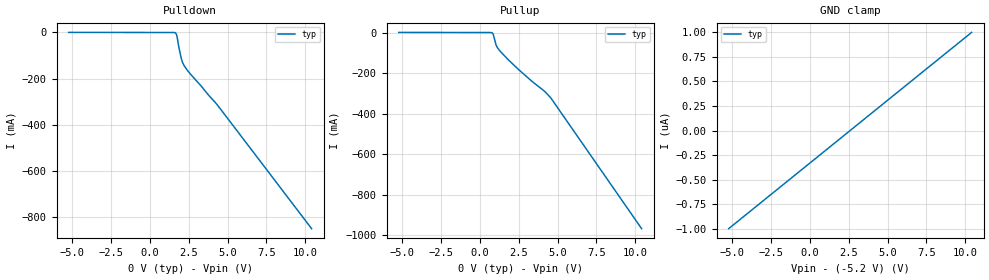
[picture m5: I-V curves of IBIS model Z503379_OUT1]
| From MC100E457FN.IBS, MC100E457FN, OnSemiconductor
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| (C) COPYRIGHT 1993-2000
| MENTOR GRAPHICS CORPORATION
| ICX STANDARD LIBRARY, ICX PROJECT MODELING,
| ICX CUSTOM MODELING, ICX VENDOR MODEL
| ALL RIGHTS RESERVED.
| THE FOLLOWING ARE TRADEMARKS OR SERVICE MARKS OF
| MENTOR GRAPHICS CORPORATION:ICX (R), ICX STANDARD
| LIBRARY(R), ICX PROJECT MODELING(R), ICX CUSTOM
| MODELING(R), qualityIBIS(TM), MODELVIEWER(TM),
| AND MODELEDITOR(TM)
| ALL COPIES OF SOFTWARE, INCLUDING BUT NOT LIMITED TO
| ANY MODIFICATIONS, ENHANCEMENTS OR DERIVATIVE WORKS,
| MUST CONTAIN ALL MENTOR GRAPHICS CORPORATION'S
| NOTICES AND LEGENDS, INCLUDING THOSE EMBEDDED IN
| SOFTWARE AND THOSE AFFIXED TO SOFTWARE MEDIUM
| AND CONTAINER, AS RECEIVED FROM MENTOR GRAPHICS
| CORPORATION.
| Model Application Version 1.89 2/18/99.
[Model] Z503379_OUT1
Model_type Output_ECL
Vref=-2.000V
Rref=50.00ohms
Cref=0.000F
Vmeas=-1.320V
C_comp 8.000pF NA NA
| variable typ   min   max
[Voltage Range] -5.200V NA NA
[POWER Clamp Reference] 0.000V NA NA
[Pullup Reference] 0.000V NA NA
[Pulldown Reference] 0.000V NA NA
[GND Clamp Reference] -5.200V NA NA
[GND Clamp]
-5.2V     -1uA       NA         NA
10.4V     1uA        NA         NA
[Pulldown]
-5.2V     410.6uA    NA         NA
1.66V     -1.943mA   NA         NA
1.714V    -7.361mA   NA         NA
1.763V    -19.29mA   NA         NA
1.885V    -67.92mA   NA         NA
2.051V    -118mA     NA         NA
2.119V    -131.3mA   NA         NA
2.222V    -144.9mA   NA         NA
2.402V    -162.7mA   NA         NA
4.375V    -317.3mA   NA         NA
10.4V     -852.7mA   NA         NA
[Pullup]
-5.2V     667.5uA    NA         NA
805.1mV   -1.7mA     NA         NA
889.2mV   -13.07mA   NA         NA
1.055V    -62.19mA   NA         NA
1.143V    -75.23mA   NA         NA
1.323V    -93.01mA   NA         NA
2.52V     -184.1mA   NA         NA
4.238V    -295.1mA   NA         NA
4.585V    -324.5mA   NA         NA
10.4V     -968.4mA   NA         NA
[POWER Clamp]
-5.2V     0A         NA         NA
10.4V     0A         NA         NA
[Ramp]
| variable typ min max
dV/dt_r 469.3m/719.4p NA NA
dV/dt_f 469.3m/480.0p NA NA
R_load = 50.00Ohms
